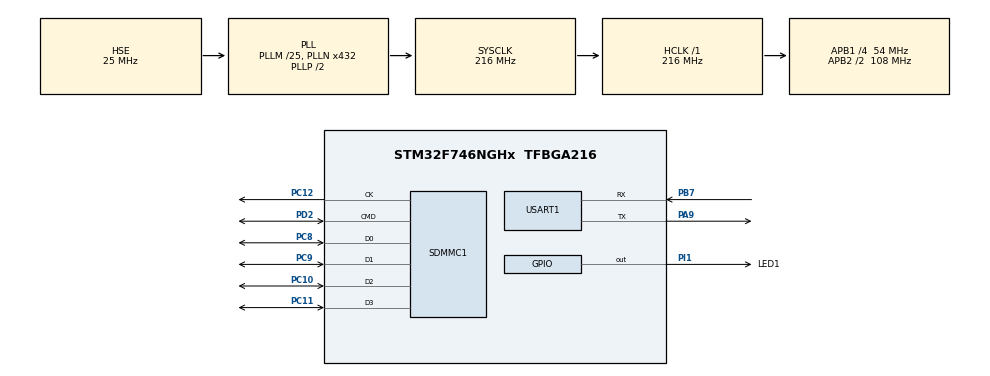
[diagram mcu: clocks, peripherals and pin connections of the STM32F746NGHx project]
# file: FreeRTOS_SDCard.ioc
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Dma.Request0=SDMMC1_TX
Dma.Request1=SDMMC1_RX
Dma.SDMMC1_RX.1.Direction=DMA_PERIPH_TO_MEMORY
Dma.SDMMC1_RX.1.FIFOMode=DMA_FIFOMODE_ENABLE
Dma.SDMMC1_RX.1.FIFOThreshold=DMA_FIFO_THRESHOLD_FULL
Dma.SDMMC1_RX.1.Instance=DMA2_Stream6
Dma.SDMMC1_RX.1.MemBurst=DMA_MBURST_INC4
Dma.SDMMC1_RX.1.MemDataAlignment=DMA_MDATAALIGN_WORD
Dma.SDMMC1_RX.1.MemInc=DMA_MINC_ENABLE
Dma.SDMMC1_RX.1.Mode=DMA_PFCTRL
Dma.SDMMC1_RX.1.PeriphBurst=DMA_PBURST_INC4
Dma.SDMMC1_RX.1.PeriphDataAlignment=DMA_PDATAALIGN_WORD
Dma.SDMMC1_RX.1.PeriphInc=DMA_PINC_DISABLE
Dma.SDMMC1_RX.1.Priority=DMA_PRIORITY_LOW
Dma.SDMMC1_TX.0.Direction=DMA_MEMORY_TO_PERIPH
Dma.SDMMC1_TX.0.FIFOMode=DMA_FIFOMODE_ENABLE
Dma.SDMMC1_TX.0.FIFOThreshold=DMA_FIFO_THRESHOLD_FULL
Dma.SDMMC1_TX.0.Instance=DMA2_Stream3
Dma.SDMMC1_TX.0.MemBurst=DMA_MBURST_INC4
Dma.SDMMC1_TX.0.MemDataAlignment=DMA_MDATAALIGN_WORD
Dma.SDMMC1_TX.0.MemInc=DMA_MINC_ENABLE
Dma.SDMMC1_TX.0.Mode=DMA_PFCTRL
Dma.SDMMC1_TX.0.PeriphBurst=DMA_PBURST_INC4
Dma.SDMMC1_TX.0.PeriphDataAlignment=DMA_PDATAALIGN_WORD
Dma.SDMMC1_TX.0.PeriphInc=DMA_PINC_DISABLE
Dma.SDMMC1_TX.0.Priority=DMA_PRIORITY_LOW
FATFS._MAX_SS=4096
FREERTOS.Mutexes01=uartMutex,Dynamic,NULL
FREERTOS.Tasks01=defaultTask,0,256,StartDefaultTask,Default,NULL,Dynamic,NULL,NULL
Mcu.Family=STM32F7
Mcu.Name=STM32F746NGHx
Mcu.Package=TFBGA216
NVIC.DMA2_Stream3_IRQn=true\:5\:0\:false\:false\:true\:true\:false\:true
NVIC.DMA2_Stream6_IRQn=true\:5\:0\:false\:false\:true\:true\:false\:true
NVIC.PriorityGroup=NVIC_PRIORITYGROUP_4
NVIC.SDMMC1_IRQn=true\:5\:0\:false\:false\:true\:true\:true\:true
NVIC.TIM6_DAC_IRQn=true\:0\:0\:false\:false\:true\:false\:false\:true
NVIC.TimeBase=TIM6_DAC_IRQn
NVIC.TimeBaseIP=TIM6
PA13.Mode=Serial_Wire
PA13.Signal=SYS_JTMS-SWDIO
PA14.Mode=Serial_Wire
PA14.Signal=SYS_JTCK-SWCLK
PA9.Mode=Asynchronous
PA9.Signal=USART1_TX
PB7.Mode=Asynchronous
PB7.Signal=USART1_RX
PC10.Mode=SD_4_bits_Wide_bus
PC10.Signal=SDMMC1_D2
PC11.Mode=SD_4_bits_Wide_bus
PC11.Signal=SDMMC1_D3
PC12.Mode=SD_4_bits_Wide_bus
PC12.Signal=SDMMC1_CK
PC8.Mode=SD_4_bits_Wide_bus
PC8.Signal=SDMMC1_D0
PC9.Mode=SD_4_bits_Wide_bus
PC9.Signal=SDMMC1_D1
PD2.Mode=SD_4_bits_Wide_bus
PD2.Signal=SDMMC1_CMD
PH0/OSC_IN.Mode=HSE-External-Oscillator
PH0/OSC_IN.Signal=RCC_OSC_IN
PH1/OSC_OUT.Mode=HSE-External-Oscillator
PH1/OSC_OUT.Signal=RCC_OSC_OUT
PI1.GPIO_Label=LED1
PI1.Signal=GPIO_Output
ProjectManager.HeapSize=0x200
ProjectManager.StackSize=0x400
ProjectManager.TargetToolchain=SW4STM32
RCC.AHBFreq_Value=216000000
RCC.APB1CLKDivider=RCC_HCLK_DIV4
RCC.APB1Freq_Value=54000000
RCC.APB1TimFreq_Value=108000000
RCC.APB2CLKDivider=RCC_HCLK_DIV2
RCC.APB2Freq_Value=108000000
RCC.APB2TimFreq_Value=216000000
RCC.CortexFreq_Value=216000000
RCC.HCLKFreq_Value=216000000
RCC.HSE_VALUE=25000000
RCC.HSI_VALUE=16000000
RCC.LSE_VALUE=32768
RCC.PLLM=25
RCC.PLLN=432
RCC.PLLQ=9
RCC.PLLSourceVirtual=RCC_PLLSOURCE_HSE
RCC.SDMMCClockSelection=RCC_SDMMC1CLKSOURCE_CLK48
RCC.SYSCLKFreq_VALUE=216000000
RCC.SYSCLKSource=RCC_SYSCLKSOURCE_PLLCLK
RCC.USBFreq_Value=48000000
RCC.VCOOutputFreq_Value=432000000
USART1.VirtualMode-Asynchronous=VM_ASYNC
VP_FATFS_VS_SDIO.Mode=SDIO
VP_FREERTOS_VS_CMSIS_V1.Mode=CMSIS_V1
VP_SYS_VS_tim6.Mode=TIM6
board=STM32F746G-DISCO

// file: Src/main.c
/* USER CODE BEGIN Header */
/**
  ******************************************************************************
  * @file           : main.c
  * @brief          : Main program body
  ******************************************************************************
  * @attention
  *
  * <h2><center>&copy; Copyright (c) 2019 STMicroelectronics.
  * All rights reserved.</center></h2>
  *
  * This software component is licensed by ST under Ultimate Liberty license
  * SLA0044, the "License"; You may not use this file except in compliance with
  * the License. You may obtain a copy of the License at:
  *                             www.st.com/SLA0044
  *
  ******************************************************************************
  */
/* USER CODE END Header */

#include "main.h"
#include "cmsis_os.h"
#include "dma.h"
#include "fatfs.h"
#include "sdmmc.h"
#include "usart.h"
#include "gpio.h"

/* USER CODE BEGIN Includes */
#include <stdio.h>
#include <string.h>

/* USER CODE END Includes */

void SystemClock_Config(void);
void MX_FREERTOS_Init(void);

int main(void)
{

  /* MCU Configuration--------------------------------------------------------*/

  /* Reset of all peripherals, Initializes the Flash interface and the Systick. */
  HAL_Init();

  /* Configure the system clock */
  SystemClock_Config();

  /* Initialize all configured peripherals */
  MX_GPIO_Init();
  MX_DMA_Init();
  MX_SDMMC1_SD_Init();
  MX_USART1_UART_Init();
  /* USER CODE BEGIN 2 */

  /* Call init function for freertos objects (in freertos.c) */
  MX_FREERTOS_Init();

  /* Start scheduler */
  vTaskStartScheduler();

  /* USER CODE END 2 */

  /* Call init function for freertos objects (in freertos.c) */
  MX_FREERTOS_Init();

  /* Start scheduler */
  osKernelStart();

  /* We should never get here as control is now taken by the scheduler */

  /* Infinite loop */
  while (1)
  {

  }
}

void SystemClock_Config(void)
{
  RCC_OscInitTypeDef RCC_OscInitStruct = {0};
  RCC_ClkInitTypeDef RCC_ClkInitStruct = {0};
  RCC_PeriphCLKInitTypeDef PeriphClkInitStruct = {0};

  /** Configure the main internal regulator output voltage
  */
  __HAL_RCC_PWR_CLK_ENABLE();
  __HAL_PWR_VOLTAGESCALING_CONFIG(PWR_REGULATOR_VOLTAGE_SCALE1);
  /** Initializes the CPU, AHB and APB busses clocks
  */
  RCC_OscInitStruct.OscillatorType = RCC_OSCILLATORTYPE_HSE;
  RCC_OscInitStruct.HSEState = RCC_HSE_ON;
  RCC_OscInitStruct.PLL.PLLState = RCC_PLL_ON;
  RCC_OscInitStruct.PLL.PLLSource = RCC_PLLSOURCE_HSE;
  RCC_OscInitStruct.PLL.PLLM = 25;
  RCC_OscInitStruct.PLL.PLLN = 432;
  RCC_OscInitStruct.PLL.PLLP = RCC_PLLP_DIV2;
  RCC_OscInitStruct.PLL.PLLQ = 9;
  if (HAL_RCC_OscConfig(&RCC_OscInitStruct) != HAL_OK)
  {
    Error_Handler();
  }
  /** Activate the Over-Drive mode
  */
  if (HAL_PWREx_EnableOverDrive() != HAL_OK)
  {
    Error_Handler();
  }
  /** Initializes the CPU, AHB and APB busses clocks
  */
  RCC_ClkInitStruct.ClockType = RCC_CLOCKTYPE_HCLK|RCC_CLOCKTYPE_SYSCLK
                              |RCC_CLOCKTYPE_PCLK1|RCC_CLOCKTYPE_PCLK2;
  RCC_ClkInitStruct.SYSCLKSource = RCC_SYSCLKSOURCE_PLLCLK;
  RCC_ClkInitStruct.AHBCLKDivider = RCC_SYSCLK_DIV1;
  RCC_ClkInitStruct.APB1CLKDivider = RCC_HCLK_DIV4;
  RCC_ClkInitStruct.APB2CLKDivider = RCC_HCLK_DIV2;

  if (HAL_RCC_ClockConfig(&RCC_ClkInitStruct, FLASH_LATENCY_7) != HAL_OK)
  {
    Error_Handler();
  }
  PeriphClkInitStruct.PeriphClockSelection = RCC_PERIPHCLK_USART1|RCC_PERIPHCLK_SDMMC1
                              |RCC_PERIPHCLK_CLK48;
  PeriphClkInitStruct.Usart1ClockSelection = RCC_USART1CLKSOURCE_PCLK2;
  PeriphClkInitStruct.Clk48ClockSelection = RCC_CLK48SOURCE_PLL;
  PeriphClkInitStruct.Sdmmc1ClockSelection = RCC_SDMMC1CLKSOURCE_CLK48;
  if (HAL_RCCEx_PeriphCLKConfig(&PeriphClkInitStruct) != HAL_OK)
  {
    Error_Handler();
  }
}

void HAL_TIM_PeriodElapsedCallback(TIM_HandleTypeDef *htim)
{
  if (htim->Instance == TIM6) {
    HAL_IncTick();
  }
}

void Error_Handler(void)
{
}

/************************ (C) COPYRIGHT STMicroelectronics *****END OF FILE****/

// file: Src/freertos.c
/* USER CODE BEGIN Header */
/**
  ******************************************************************************
  * File Name          : freertos.c
  * Description        : Code for freertos applications
  ******************************************************************************
  * @attention
  *
  * <h2><center>&copy; Copyright (c) 2019 STMicroelectronics.
  * All rights reserved.</center></h2>
  *
  * This software component is licensed by ST under Ultimate Liberty license
  * SLA0044, the "License"; You may not use this file except in compliance with
  * the License. You may obtain a copy of the License at:
  *                             www.st.com/SLA0044
  *
  ******************************************************************************
  */
/* USER CODE END Header */

#include "FreeRTOS.h"
#include "task.h"
#include "main.h"
#include "cmsis_os.h"

/* USER CODE BEGIN Includes */
#include <stdio.h>
#include <string.h>
#include "dma.h"
#include "fatfs.h"
#include "sdmmc.h"
#include "usart.h"
#include "gpio.h"

/* USER CODE END Includes */

/* USER CODE BEGIN PTD */
#ifdef __GNUC__
	#define PUTCHAR_PROTOTYPE int __io_putchar(int ch)
#else
	#define PUTCHAR_PROTOTYPE int fputc(int ch, FILE *f)
#endif
/* USER CODE END PTD */

/* USER CODE BEGIN PD */
extern char SDPath[4];
extern FATFS SDFatFS;
extern FIL SDFile;

FRESULT res;
uint32_t byteswritten, bytesread;
uint8_t wtext[] = "Hello from the other side!";
uint8_t rtext[100];

/* USER CODE END PD */

osThreadId defaultTaskHandle;
osMutexId uartMutexHandle;

void StartDefaultTask(void const * argument);

extern void MX_FATFS_Init(void);
void MX_FREERTOS_Init(void); /* (MISRA C 2004 rule 8.1) */

/* GetIdleTaskMemory prototype (linked to static allocation support) */
void vApplicationGetIdleTaskMemory( StaticTask_t **ppxIdleTaskTCBBuffer, StackType_t **ppxIdleTaskStackBuffer, uint32_t *pulIdleTaskStackSize );

/* USER CODE BEGIN GET_IDLE_TASK_MEMORY */
static StaticTask_t xIdleTaskTCBBuffer;
static StackType_t xIdleStack[configMINIMAL_STACK_SIZE];

void vApplicationGetIdleTaskMemory( StaticTask_t **ppxIdleTaskTCBBuffer, StackType_t **ppxIdleTaskStackBuffer, uint32_t *pulIdleTaskStackSize )
{
  *ppxIdleTaskTCBBuffer = &xIdleTaskTCBBuffer;
  *ppxIdleTaskStackBuffer = &xIdleStack[0];
  *pulIdleTaskStackSize = configMINIMAL_STACK_SIZE;
  /* place for user code */
}
/* USER CODE END GET_IDLE_TASK_MEMORY */

void MX_FREERTOS_Init(void) {
  /* USER CODE BEGIN Init */
	BaseType_t task_status;

  /* USER CODE END Init */

  /* Create the mutex(es) */
  /* definition and creation of uartMutex */
  osMutexDef(uartMutex);
  uartMutexHandle = osMutexCreate(osMutex(uartMutex));

  /* Create the thread(s) */
  /* definition and creation of defaultTask */
  osThreadDef(defaultTask, StartDefaultTask, osPriorityNormal, 0, 256);
  defaultTaskHandle = osThreadCreate(osThread(defaultTask), NULL);

}

void StartDefaultTask(void const * argument)
{
  /* init code for FATFS */
  MX_FATFS_Init();
  /* USER CODE BEGIN StartDefaultTask */

  /* UART buffer */
  uint8_t txSend[50];

  f_mount(&SDFatFS, (TCHAR const*)SDPath, 0);

  if(f_mount(&SDFatFS, (TCHAR const*)SDPath, 0) != FR_OK)
  	{
  		printf("Error Mounting SD Card\r\n");
  	}
  	else printf("SD Card mounted successfully!\r\n");
  	HAL_Delay(200);

  	if(f_open(&SDFile, "F7FILE2.CSV", FA_CREATE_ALWAYS | FA_WRITE) != FR_OK)
  	{
  		printf("Error openning file\r\n");
  	}
  	else
  	{
  		printf("File Openned Successfully!\r\n");

  		res = f_write(&SDFile, wtext, strlen((char *)wtext), (void *)&byteswritten);
  		if((byteswritten == 0) || (res != FR_OK))
  		{
  			printf("Failed to write file!\r\n");
  		}
  		else printf("File written successfully\r\n");

  		f_close(&SDFile);

  		f_open(&SDFile, "F7FILE2.TXT",  FA_READ);
  		memset(rtext,0,sizeof(rtext));
  		res = f_read(&SDFile, rtext, sizeof(rtext), (UINT*)&bytesread);
  		if((bytesread == 0) || (res != FR_OK))
  		{
  			printf("Failed to read file!\r\n");
  		}
  		else
  		{
  			printf("File read successfully\r\n");
  			printf("File content: %s\r\n", (char *)rtext);
  		}
  		f_close(&SDFile);
  	}
  	f_mount(&SDFatFS, (TCHAR const*)NULL, 0);

  /* USER CODE END StartDefaultTask */
}

/* USER CODE BEGIN Application */
PUTCHAR_PROTOTYPE
{
	HAL_UART_Transmit(&huart1, (uint8_t *)&ch, 1, 0xFFFF);
	return ch;
}
/* USER CODE END Application */

/************************ (C) COPYRIGHT STMicroelectronics *****END OF FILE****/
